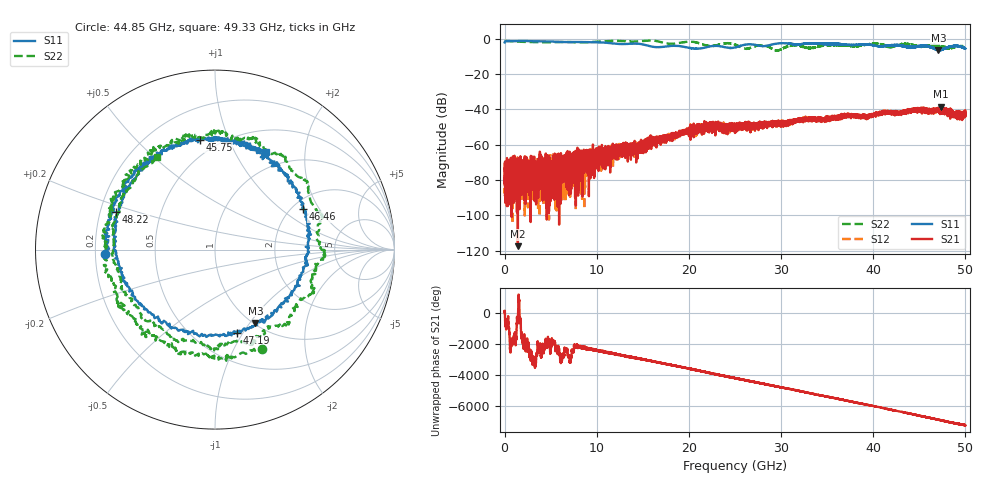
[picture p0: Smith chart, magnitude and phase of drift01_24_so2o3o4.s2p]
!Created with skrf (http://scikit-rf.org).
# Hz S RI R 50.0
!freq ReS11 ImS11 ReS21 ImS21 ReS12 ImS12 ReS22 ImS22
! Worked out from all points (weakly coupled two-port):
!   10001 points, 300 kHz to 50 GHz, reference 50 ohm
!   highest |S21| = -38.60 dB at 47.38 GHz (marker M1); lowest = -117.5 dB at 1.44 GHz (marker M2)
!   lowest |S11| = -6.6 dB at 47.08 GHz (marker M3), VSWR 2.74, Z = 51 - j53.2 ohm
!   |S11| at or under -10 dB: nowhere
!   |S22| runs from -6.8 to -1.0 dB; largest |S21 - S12| = 0.0038
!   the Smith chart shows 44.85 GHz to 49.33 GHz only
!   S11 on the Smith chart (normalised r, x): 44.85 GHz: 0.24, -0.02; 45.75 GHz: 0.40, +0.79; 46.46 GHz: 2.26, +1.45; 47.19 GHz: 0.78, -0.94; 48.22 GHz: 0.27, +0.17; 49.33 GHz: 0.77, +1.34
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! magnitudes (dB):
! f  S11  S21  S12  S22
! 300 kHz  -2.1  -73.4  -70.3  -1.3
! 265.3 MHz  -1.4  -75.5  -75.0  -1.4
! 1.44 GHz  -1.4  -117.5  -77.2  -1.7
! 5.98 GHz  -1.9  -81.6  -74.3  -1.9
! 8.335 GHz  -1.9  -68.8  -72.7  -2.1
! 16.67 GHz  -4.8  -58.4  -55.7  -1.6
! 21.8 GHz  -5.0  -49.9  -48.6  -3.7
! 25 GHz  -5.0  -49.8  -50.4  -3.4
! 28.09 GHz  -4.3  -49.7  -48.6  -3.8
! 29.52 GHz  -2.8  -48.0  -48.2  -6.7
! 31.26 GHz  -3.1  -46.0  -46.0  -3.9
! 33.34 GHz  -2.6  -45.3  -46.3  -5.3
! 41.67 GHz  -3.9  -42.0  -41.2  -4.6
! 44.85 GHz  -4.3  -40.7  -40.8  -4.3
! 45.75 GHz  -4.2  -40.9  -40.5  -4.3
! 46.46 GHz  -5.4  -41.4  -41.1  -3.7
! 47.08 GHz  -6.6  -40.4  -39.7  -4.1
! 47.19 GHz  -6.3  -41.1  -41.1  -4.3
! 47.38 GHz  -6.3  -38.6  -40.2  -4.9
! 48.22 GHz  -4.6  -41.5  -41.4  -5.6
! 49.33 GHz  -4.3  -43.7  -43.4  -4.3
! 50 GHz  -5.7  -42.1  -42.1  -4.3
